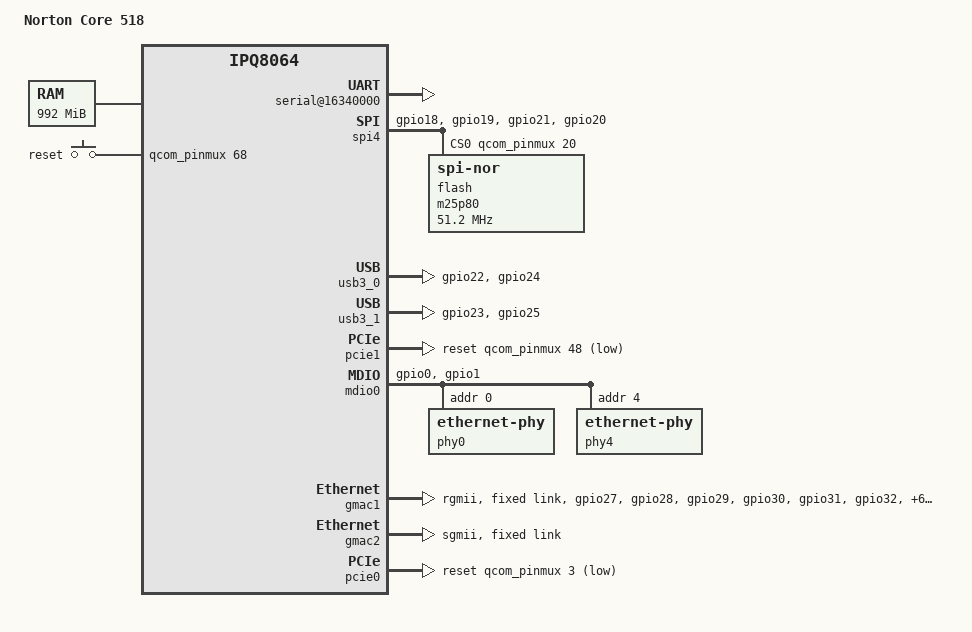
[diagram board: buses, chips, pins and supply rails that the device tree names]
#include "qcom-ipq8065.dtsi"

#include <dt-bindings/input/input.h>

/ {
	model = "Norton Core 518";
	compatible = "norton,core-518", "qcom,ipq8065", "qcom,ipq8064";

	memory@0 {
		reg = <0x42000000 0x3e000000>;
		device_type = "memory";
	};

	reserved-memory {
		#address-cells = <1>;
		#size-cells = <1>;
		ranges;
		rsvd@41200000 {
			reg = <0x41200000 0x300000>;
			no-map;
		};
	};

	aliases {
		serial0 = &gsbi4_serial;
		mdio-gpio0 = &mdio0;
		sdcc1 = &sdcc1;
	};

	chosen {
		bootargs = "rootfstype=squashfs,ext4 rootwait noinitrd";
		stdout-path = "serial0:115200n8";
		append-rootblock = "root=/dev/mmcblk0p";
	};

	soc {
		pinmux@800000 {
			button_pins: button_pins {
				mux {
					pins = "gpio68";
					function = "gpio";
					drive-strength = <2>;
					bias-pull-up;
				};
			};

			hs_uart_pins: hs_uart_pins {
				mux {
					pins = "gpio6", "gpio7", "gpio8", "gpio9";
					function = "gsbi7";
					drive-strength = <0xc>;
					bias-disable;
				};
			};

			serial_pins: serial_pins {
				mux {
					pins = "gpio55", "gpio56";
					function = "gsbi6";
					drive-strength = <0xc>;
					bias-disable;
				};
			};

			i2c_pins: i2c_pins {
				mux {
					pins = "gpio57", "gpio58";
					function = "gsbi6";
					drive-strength = <0xc>;
					bias-disable;
				};
			};

			sdcc1_pins: sdcc1_pinmux {
				mux {
					pins = "gpio38", "gpio39", "gpio40",
					"gpio41", "gpio42", "gpio43",
					"gpio44", "gpio45", "gpio46",
					"gpio47";
					function = "sdc1";
				};
				cmd {
					pins = "gpio45";
					drive-strength = <10>;
					bias-pull-up;
				};
				data {
					pins = "gpio38", "gpio39", "gpio40",
					"gpio41", "gpio43", "gpio44",
					"gpio46", "gpio47";
					drive-strength = <10>;
					bias-pull-up;
				};
				clk {
					pins = "gpio42";
					drive-strength = <16>;
					bias-disable;
				};
			};

			mdio0_pins: mdio0_pins {
				mux {
					pins = "gpio0", "gpio1";
					function = "gpio";
					drive-strength = <8>;
					bias-disable;
				};

				clk {
					pins = "gpio1";
					input-disable;
				};
			};

			rgmii2_pins: rgmii2_pins {
				mux {
					pins = "gpio27", "gpio28", "gpio29", "gpio30", "gpio31", "gpio32",
					       "gpio51", "gpio52", "gpio59", "gpio60", "gpio61", "gpio62" ;
					function = "rgmii2";
					drive-strength = <8>;
					bias-disable;
				};

				tx {
					pins = "gpio27", "gpio28", "gpio29", "gpio30", "gpio31", "gpio32" ;
					input-disable;
				};
			};

			spi_pins: spi_pins {
				mux {
					pins = "gpio18", "gpio19", "gpio21";
					function = "gsbi5";
					drive-strength = <10>;
					bias-none;
				};

				cs {
					pins = "gpio20";
					drive-strength = <12>;
				};
			};

			usb0_pwr_en_pins: usb0_pwr_en_pins {
				mux {
					pins = "gpio22", "gpio24";
					function = "gpio";
					drive-strength = <12>;
				};

				pwr {
					pins = "gpio22";
					bias-pull-down;
					output-high;
				};

				ovc {
					pins = "gpio24";
					bias-pull-up;
				};
			};

			usb1_pwr_en_pins: usb1_pwr_en_pins {
				mux {
					pins = "gpio23", "gpio25";
					function = "gpio";
					drive-strength = <12>;
				};

				pwr {
					pins = "gpio23";
					bias-pull-down;
					output-high;
				};

				ovc {
					pins = "gpio25";
					bias-pull-up;
				};
			};
		};

		gsbi@16300000 {
			qcom,mode = <GSBI_PROT_I2C_UART>;
			status = "okay";
			serial@16340000 {
				status = "okay";
			};
			/*
			 * The i2c device on gsbi4 should not be enabled.
			 * On ipq806x designs gsbi4 i2c is meant for exclusive
			 * RPM usage. Turning this on in kernel manifests as
			 * i2c failure for the RPM.
			 */
		};

		gsbi5: gsbi@1a200000 {
			qcom,mode = <GSBI_PROT_SPI>;
			status = "okay";

			spi4: spi@1a280000 {
				status = "okay";

				pinctrl-0 = <&spi_pins>;
				pinctrl-names = "default";

				cs-gpios = <&qcom_pinmux 20 GPIO_ACTIVE_HIGH>;

				flash: m25p80@0 {
					compatible = "jedec,spi-nor";
					#address-cells = <1>;
					#size-cells = <1>;
					spi-max-frequency = <51200000>;
					reg = <0>;

					partitions {
						compatible = "qcom,smem";
					};
				};
			};
		};

		// gsbi@16500000 {
		// 	status = "okay";
		// 	qcom,mode = < 0x06 >;

		// 	i2c@16580000 {
		// 		status = "okay";

		// 		ncp5623@38 {
		// 			compatible = "ncp5623";
		// 			reg = < 0x38 >;

		// 			white {
		// 				label = "white";
		// 				led_group = < 0x05 >;
		// 				linux,default-trigger = "timer";
		// 			};

		// 			amber {
		// 				label = "amber";
		// 				led_group = < 0x02 >;
		// 				init_state = "full_on";
		// 				linux,default-trigger = "none";
		// 			};
		// 		};
		// 	};
		// };

		phy@100f8800 {		/* USB3 port 1 HS phy */
			status = "okay";
		};

		phy@100f8830 {		/* USB3 port 1 SS phy */
			status = "okay";
		};

		phy@110f8800 {		/* USB3 port 0 HS phy */
			status = "okay";
		};

		phy@110f8830 {		/* USB3 port 0 SS phy */
			status = "okay";
		};
	};

	gpio-keys {
		compatible = "gpio-keys";
		pinctrl-0 = <&button_pins>;
		pinctrl-names = "default";

		reset {
			label = "reset";
			gpios = <&qcom_pinmux 68 GPIO_ACTIVE_HIGH>;
			linux,code = <KEY_RESTART>;
		};
	};
};

&usb3_0 {
	status = "okay";

	pinctrl-0 = <&usb0_pwr_en_pins>;
	pinctrl-names = "default";
};

&usb3_1 {
	status = "okay";

	pinctrl-0 = <&usb1_pwr_en_pins>;
	pinctrl-names = "default";
};

&pcie1 {
	status = "okay";
	reset-gpio = <&qcom_pinmux 48 GPIO_ACTIVE_LOW>;
	pinctrl-0 = <&pcie1_pins>;
	pinctrl-names = "default";
	max-link-speed = <1>;
};

&mdio0 {
	status = "okay";

	pinctrl-0 = <&mdio0_pins>;
	pinctrl-names = "default";


	phy0: ethernet-phy@0 {
		reg = <0>;
		qca,ar8327-initvals = <
			0x00004 0x7600000   /* PAD0_MODE */
			0x00008 0x1000000   /* PAD5_MODE */
			0x0000c 0x80        /* PAD6_MODE */
			0x000e4 0xaa545     /* MAC_POWER_SEL */
			0x000e0 0xc74164de  /* SGMII_CTRL */
			0x0007c 0x4e        /* PORT0_STATUS */
			0x00094 0x4e        /* PORT6_STATUS */
			0x00970 0x1e864443  /* QM_PORT0_CTRL0 */
			0x00974 0x000001c6  /* QM_PORT0_CTRL1 */
			0x00978 0x19008643  /* QM_PORT1_CTRL0 */
			0x0097c 0x000001c6  /* QM_PORT1_CTRL1 */
			0x00980 0x19008643  /* QM_PORT2_CTRL0 */
			0x00984 0x000001c6  /* QM_PORT2_CTRL1 */
			0x00988 0x19008643  /* QM_PORT3_CTRL0 */
			0x0098c 0x000001c6  /* QM_PORT3_CTRL1 */
			0x00990 0x19008643  /* QM_PORT4_CTRL0 */
			0x00994 0x000001c6  /* QM_PORT4_CTRL1 */
			0x00998 0x1e864443  /* QM_PORT5_CTRL0 */
			0x0099c 0x000001c6  /* QM_PORT5_CTRL1 */
			0x009a0 0x1e864443  /* QM_PORT6_CTRL0 */
			0x009a4 0x000001c6  /* QM_PORT6_CTRL1 */
			>;
	};

	phy4: ethernet-phy@4 {
		reg = <4>;
		qca,ar8327-initvals = <
			0x000e4 0x6a545     /* MAC_POWER_SEL */
			0x0000c 0x80        /* PAD6_MODE */
			>;
	};
};

&gmac1 {
	status = "okay";
	compatible = "qcom,nss-gmac";
	reg = <0x37200000 0x200000>;
	interrupts = <GIC_SPI 223 IRQ_TYPE_LEVEL_HIGH>;
	phy-mode = "rgmii";
	qcom,id = <1>;
	qcom,pcs-chanid = <0>;
	qcom,phy-mdio-addr = <4>;
	qcom,poll-required = <0>;
	qcom,rgmii-delay = <1>;
	qcom,phy_mii_type = <0>;
	qcom,emulation = <0>;
	qcom,forced-speed = <1000>;
	qcom,forced-duplex = <1>;
	qcom,socver = <0>;
	qcom,irq = <255>;
	mdiobus = <&mdio0>;

	pinctrl-0 = <&rgmii2_pins>;
	pinctrl-names = "default";

	fixed-link {
		speed = <1000>;
		full-duplex;
	};
};

&gmac2 {
	status = "okay";
	compatible = "qcom,nss-gmac";
	reg = <0x37400000 0x200000>;
	interrupts = <GIC_SPI 226 IRQ_TYPE_LEVEL_HIGH>;
	phy-mode = "sgmii";
	qcom,id = <2>;
	qcom,pcs-chanid = <1>;
	qcom,phy-mdio-addr = <0>;	/* none */
	qcom,poll-required = <0>;	/* no polling */
	qcom,rgmii-delay = <0>;
	qcom,phy_mii_type = <1>;
	qcom,emulation = <0>;
	qcom,forced-speed = <1000>;
	qcom,forced-duplex = <1>;
	qcom,socver = <0>;
	qcom,irq = <258>;
	mdiobus = <&mdio0>;

	fixed-link {
		speed = <1000>;
		full-duplex;
	};
};

// &gmac1 {
// 	status = "okay";
// 	phy-mode = "rgmii";
// 	qcom,id = <1>;
// 	qcom,phy_mdio_addr = <4>;
// 	qcom,poll_required = <0>;
// 	qcom,rgmii_delay = <1>;
// 	qcom,phy_mii_type = <0>;
// 	qcom,emulation = <0>;
// 	qcom,irq = <255>;
// 	mdiobus = <&mdio0>;

// 	pinctrl-0 = <&rgmii2_pins>;
// 	pinctrl-names = "default";

// 	fixed-link {
// 		speed = <1000>;
// 		full-duplex;
// 	};
// };

// &gmac2 {
// 	status = "okay";
// 	phy-mode = "sgmii";
// 	qcom,id = <2>;
// 	qcom,phy_mdio_addr = <0>;	/* none */
// 	qcom,poll_required = <0>;	/* no polling */
// 	qcom,rgmii_delay = <0>;
// 	qcom,phy_mii_type = <1>;
// 	qcom,emulation = <0>;
// 	qcom,irq = <258>;
// 	mdiobus = <&mdio0>;

// 	fixed-link {
// 		speed = <1000>;
// 		full-duplex;
// 	};
// };

&pcie0 {
	status = "okay";
	reset-gpio = <&qcom_pinmux 3 GPIO_ACTIVE_LOW>;
	pinctrl-0 = <&pcie0_pins>;
	pinctrl-names = "default";
};

&pcie1 {
	status = "okay";
	reset-gpio = <&qcom_pinmux 48 GPIO_ACTIVE_LOW>;
	pinctrl-0 = <&pcie1_pins>;
	pinctrl-names = "default";
	max-link-speed = <1>;
};

&amba {
	sdcc1: sdcc@12400000 {
		status = "okay";
		pinctrl-0 = <&sdcc1_pins>;
		pinctrl-names = "default";
	};
};

&adm_dma {
	status = "okay";
};
